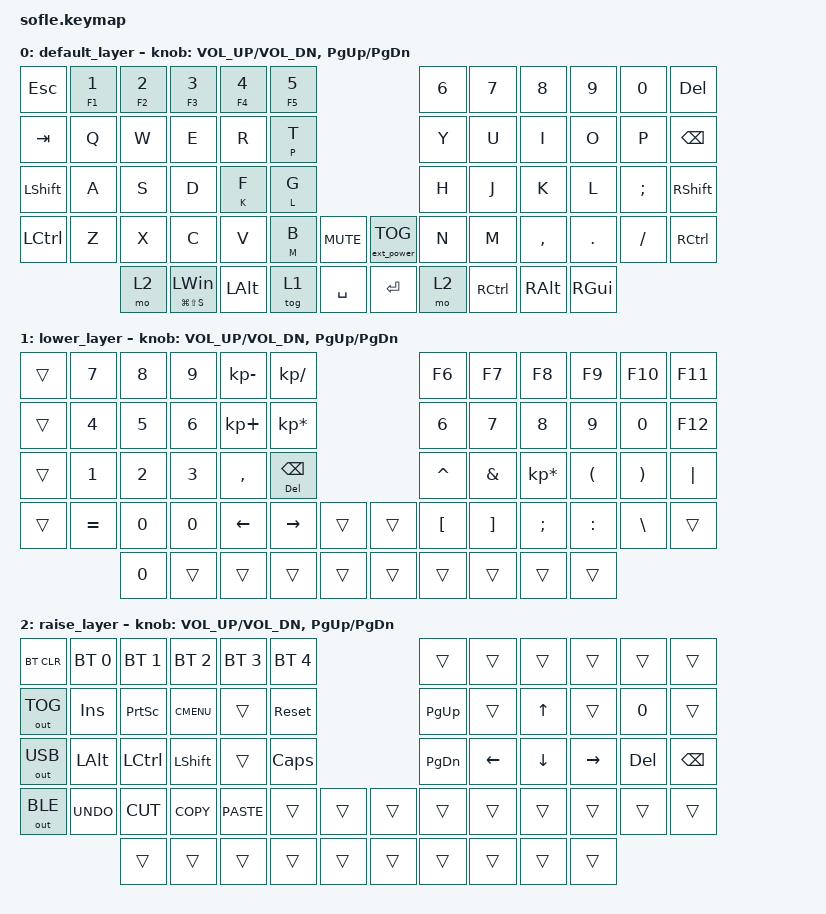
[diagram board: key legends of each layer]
/*
 * Copyright (c) 2020 The ZMK Contributors
 *
 * SPDX-License-Identifier: MIT
 */

#include <behaviors.dtsi>
#include <dt-bindings/zmk/bt.h>
#include <dt-bindings/zmk/ext_power.h>
#include <dt-bindings/zmk/keys.h>
#include <dt-bindings/zmk/outputs.h>

/ {
    behaviors {
        holdtapf1: holdtapf1 {
            compatible = "zmk,behavior-hold-tap";
            label = "HOLDTAPF1";
            bindings = <&kp>, <&kp>;

            #binding-cells = <2>;
            hold-trigger-key-positions = <1>;
            tapping-term-ms = <800>;
        };
    };

    keymap {
        compatible = "zmk,keymap";

        default_layer {
            // ------------------------------------------------------------------------------------------------------------
            // |  `    |  1  |  2  |  3   |  4   |  5   |                         |  6   |  7    |  8    |  9   |   0   |       |
            // |  ESC  |  Q  |  W  |  E   |  R   |  T   |                         |  Y   |  U    |  I    |  O   |   P   | BKSPC |
            // |  TAB  |  A  |  S  |  D   |  F   |  G   |                         |  H   |  J    |  K    |  L   |   ;   |   '   |
            // | SHIFT |  Z  |  X  |  C   |  V   |  B   |  MUTE  |        | ExtPw |  N   |  M    |  ,    |  .   |   /   | SHIFT |
            //               | GUI | ALT  | CTRL | LOWER|  ENTER |        | SPACE | RAISE| CTRL  | ALT   | GUI  |

            bindings = <
&kp ESCAPE      &holdtapf1 F1 N1  &holdtapf1 F2 N2  &holdtapf1 F3 N3               &holdtapf1 F4 N4  &holdtapf1 F5 N5                                   &kp N6  &kp N7     &kp N8     &kp N9    &kp N0    &kp DEL
&kp TAB         &kp Q             &kp W             &kp E                          &kp R             &holdtapf1 P T                                     &kp Y   &kp U      &kp I      &kp O     &kp P     &kp BSPC
&kp LEFT_SHIFT  &kp A             &kp S             &kp D                          &holdtapf1 K F    &holdtapf1 L G                                     &kp H   &kp J      &kp K      &kp L     &kp SEMI  &kp RIGHT_SHIFT
&kp LCTRL       &kp Z             &kp X             &kp C                          &kp V             &holdtapf1 M B    &kp K_MUTE    &ext_power EP_TOG  &kp N   &kp M      &kp COMMA  &kp DOT   &kp FSLH  &kp RCTRL
                                  &mo 2             &holdtapf1 LG(LS(S)) LEFT_WIN  &kp LEFT_ALT      &tog 1            &kp SPACE     &kp ENTER          &mo 2   &kp RCTRL  &kp RALT   &kp RGUI
            >;

            sensor-bindings = <&inc_dec_kp C_VOL_UP C_VOL_DN &inc_dec_kp PG_UP PG_DN>;
        };

        lower_layer {
            // TODO: Some binds are waiting for shifted keycode support.
            // ------------------------------------------------------------------------------------------------------------
            // |       |  F1 |  F2 |  F3  |  F4  |  F5  |                   |  F6  |  F7   |  F8   |  F9  |  F10  |  F11  |
            // | `     |   1 |   2 |   3  |   4  |   5  |                   |   6  |   7   |   8   |   9  |    0  |  F12  |
            // |       |  !  |  @  |  #   |  $   |  %   |                   |  ^   |  &    |  *    |  (   |   )   |   |   |
            // |       |  =  |  -  |  +   |  {   |  }   |        |  |       |  [   |  ]    |  ;    |  :   |   \   |       |
            //               |     |      |      |      |        |  |       |      |       |       |      |

            bindings = <
&trans  &kp N7     &kp N8  &kp N9  &kp KP_MINUS  &kp KP_DIVIDE                                  &kp F6     &kp F7    &kp F8           &kp F9     &kp F10   &kp F11
&trans  &kp N4     &kp N5  &kp N6  &kp KP_PLUS   &kp KP_MULTIPLY                                &kp N6     &kp N7    &kp N8           &kp N9     &kp N0    &kp F12
&trans  &kp N1     &kp N2  &kp N3  &kp COMMA     &holdtapf1 DELETE BACKSPACE                    &kp CARET  &kp AMPS  &kp KP_MULTIPLY  &kp LPAR   &kp RPAR  &kp PIPE
&trans  &kp EQUAL  &kp N0  &kp N0  &kp LEFT      &kp RIGHT                    &trans    &trans  &kp LBKT   &kp RBKT  &kp SEMI         &kp COLON  &kp BSLH  &trans
                   &kp N0  &trans  &trans        &trans                       &trans    &trans  &trans     &trans    &trans           &trans
            >;

            sensor-bindings = <&inc_dec_kp C_VOL_UP C_VOL_DN &inc_dec_kp PG_UP PG_DN>;
        };

        raise_layer {
            // ------------------------------------------------------------------------------------------------------------
            // |BTCLR| BT1  | BT2  |  BT3  |  BT4  |  BT5 |                |      |      |       |      |       |       |
            // |     | INS  | PSCR | GUI   |       |      |                | PGUP |      |   ^   |      |       |       |
            // |     | ALT  | CTRL | SHIFT |       | CAPS |                | PGDN |   <- |   v   |  ->  |  DEL  | BKSPC |
            // |     | UNDO | CUT  | COPY  | PASTE |      |      |  |      |      |      |       |      |       |       |
            //              |      |       |       |      |      |  |      |      |      |       |      |

            bindings = <
&bt BT_CLR    &bt BT_SEL 0  &bt BT_SEL 1  &bt BT_SEL 2  &bt BT_SEL 3  &bt BT_SEL 4                    &trans     &trans    &trans    &trans     &trans   &trans
&out OUT_TOG  &kp INS       &kp PSCRN     &kp K_CMENU   &trans        &sys_reset                      &kp PG_UP  &trans    &kp UP    &trans     &kp N0   &trans
&out OUT_USB  &kp LALT      &kp LCTRL     &kp LSHFT     &trans        &kp CLCK                        &kp PG_DN  &kp LEFT  &kp DOWN  &kp RIGHT  &kp DEL  &kp BSPC
&out OUT_BLE  &kp K_UNDO    &kp K_CUT     &kp K_COPY    &kp K_PASTE   &trans        &trans    &trans  &trans     &trans    &trans    &trans     &trans   &trans
                            &trans        &trans        &trans        &trans        &trans    &trans  &trans     &trans    &trans    &trans
            >;

            sensor-bindings = <&inc_dec_kp C_VOL_UP C_VOL_DN &inc_dec_kp PG_UP PG_DN>;
        };
    };
};
